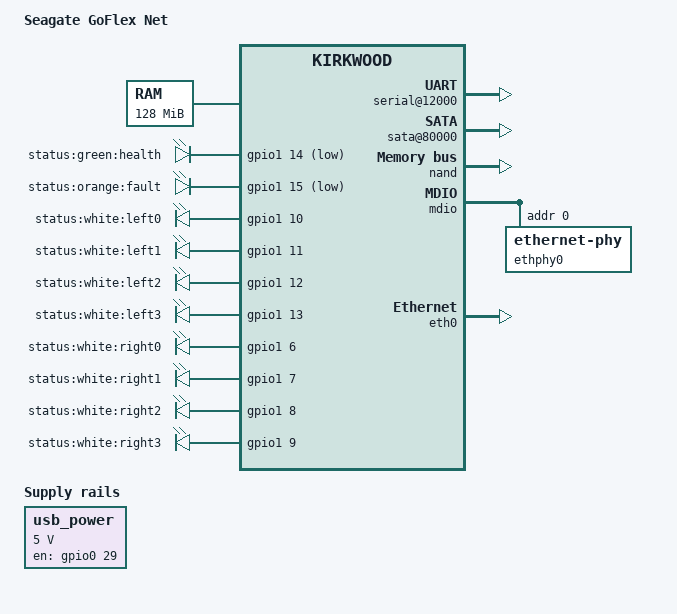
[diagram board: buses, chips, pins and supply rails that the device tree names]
/dts-v1/;

#include "kirkwood.dtsi"
#include "kirkwood-6281.dtsi"

/ {
	model = "Seagate GoFlex Net";
	compatible = "seagate,goflexnet", "marvell,kirkwood-88f6281", "marvell,kirkwood";

	memory {
		device_type = "memory";
		reg = <0x00000000 0x8000000>;
	};

	chosen {
		bootargs = "console=ttyS0,115200n8 earlyprintk root=/dev/sda1 rootdelay=10";
	};

	ocp@f1000000 {
		pinctrl: pinctrl@10000 {
			pmx_usb_power_enable: pmx-usb-power-enable {
				marvell,pins = "mpp29";
				marvell,function = "gpio";
			};
			pmx_led_right_cap_0: pmx-led_right_cap_0 {
				marvell,pins = "mpp38";
				marvell,function = "gpio";
			};
			pmx_led_right_cap_1: pmx-led_right_cap_1 {
				marvell,pins = "mpp39";
				marvell,function = "gpio";
			};
			pmx_led_right_cap_2: pmx-led_right_cap_2 {
				marvell,pins = "mpp40";
				marvell,function = "gpio";
			};
			pmx_led_right_cap_3: pmx-led_right_cap_3 {
				marvell,pins = "mpp41";
				marvell,function = "gpio";
			};
			pmx_led_left_cap_0: pmx-led_left_cap_0 {
				marvell,pins = "mpp42";
				marvell,function = "gpio";
			};
			pmx_led_left_cap_1: pmx-led_left_cap_1 {
				marvell,pins = "mpp43";
				marvell,function = "gpio";
			};
			pmx_led_left_cap_2: pmx-led_left_cap_2 {
				marvell,pins = "mpp44";
				marvell,function = "gpio";
			};
			pmx_led_left_cap_3: pmx-led_left_cap_3 {
				marvell,pins = "mpp45";
				marvell,function = "gpio";
			};
			pmx_led_green: pmx-led_green {
				marvell,pins = "mpp46";
				marvell,function = "gpio";
			};
			pmx_led_orange: pmx-led_orange {
				marvell,pins = "mpp47";
				marvell,function = "gpio";
			};
		};
		serial@12000 {
			status = "ok";
		};

		sata@80000 {
			status = "okay";
			nr-ports = <2>;
		};

	};
	gpio-leds {
		compatible = "gpio-leds";
		pinctrl-0 = < &pmx_led_orange
			      &pmx_led_left_cap_0 &pmx_led_left_cap_1
			      &pmx_led_left_cap_2 &pmx_led_left_cap_3
			      &pmx_led_right_cap_0 &pmx_led_right_cap_1
			      &pmx_led_right_cap_2 &pmx_led_right_cap_3
			    >;
		pinctrl-names = "default";

		health {
			label = "status:green:health";
			gpios = <&gpio1 14 GPIO_ACTIVE_LOW>;
			default-state = "keep";
		};
		fault {
			label = "status:orange:fault";
			gpios = <&gpio1 15 GPIO_ACTIVE_LOW>;
		};
		left0 {
			label = "status:white:left0";
			gpios = <&gpio1 10 GPIO_ACTIVE_HIGH>;
		};
		left1 {
			label = "status:white:left1";
			gpios = <&gpio1 11 GPIO_ACTIVE_HIGH>;
		};
		left2 {
			label = "status:white:left2";
			gpios = <&gpio1 12 GPIO_ACTIVE_HIGH>;
		};
		left3 {
			label = "status:white:left3";
			gpios = <&gpio1 13 GPIO_ACTIVE_HIGH>;
		};
		right0 {
			label = "status:white:right0";
			gpios = <&gpio1 6 GPIO_ACTIVE_HIGH>;
		};
		right1 {
			label = "status:white:right1";
			gpios = <&gpio1 7 GPIO_ACTIVE_HIGH>;
		};
		right2 {
			label = "status:white:right2";
			gpios = <&gpio1 8 GPIO_ACTIVE_HIGH>;
		};
		right3 {
			label = "status:white:right3";
			gpios = <&gpio1 9 GPIO_ACTIVE_HIGH>;
		};
	};
	regulators {
		compatible = "simple-bus";
		#address-cells = <1>;
		#size-cells = <0>;
		pinctrl-0 = <&pmx_usb_power_enable>;
		pinctrl-names = "default";

		usb_power: regulator@1 {
			compatible = "regulator-fixed";
			reg = <1>;
			regulator-name = "USB Power";
			regulator-min-microvolt = <5000000>;
			regulator-max-microvolt = <5000000>;
			enable-active-high;
			regulator-always-on;
			regulator-boot-on;
			gpio = <&gpio0 29 GPIO_ACTIVE_HIGH>;
		};
	};
};

&nand {
	chip-delay = <40>;
	status = "okay";

	partition@0 {
		label = "u-boot";
		reg = <0x0000000 0x100000>;
		read-only;
	};

	partition@100000 {
		label = "uImage";
		reg = <0x0100000 0x400000>;
	};

	partition@500000 {
		label = "pogoplug";
		reg = <0x0500000 0x2000000>;
	};

	partition@2500000 {
		label = "root";
		reg = <0x02500000 0xd800000>;
	};
};

&mdio {
	status = "okay";

	ethphy0: ethernet-phy@0 {
		device_type = "ethernet-phy";
		reg = <0>;
	};
};

&eth0 {
	status = "okay";
	ethernet0-port@0 {
		phy-handle = <&ethphy0>;
	};
};
